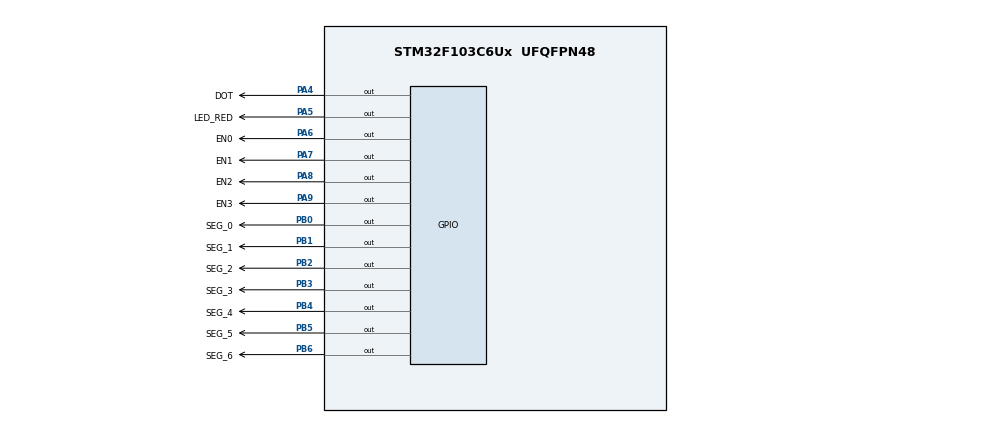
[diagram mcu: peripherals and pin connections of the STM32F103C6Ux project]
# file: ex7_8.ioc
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Mcu.Family=STM32F1
Mcu.Name=STM32F103C6Ux
Mcu.Package=UFQFPN48
NVIC.PriorityGroup=NVIC_PRIORITYGROUP_4
NVIC.TIM2_IRQn=true\:0\:0\:false\:false\:true\:true\:true
PA4.GPIO_Label=DOT
PA4.Signal=GPIO_Output
PA5.GPIO_Label=LED_RED
PA5.Signal=GPIO_Output
PA6.GPIO_Label=EN0
PA6.Signal=GPIO_Output
PA7.GPIO_Label=EN1
PA7.Signal=GPIO_Output
PA8.GPIO_Label=EN2
PA8.Signal=GPIO_Output
PA9.GPIO_Label=EN3
PA9.Signal=GPIO_Output
PB0.GPIO_Label=SEG_0
PB0.Signal=GPIO_Output
PB1.GPIO_Label=SEG_1
PB1.Signal=GPIO_Output
PB2.GPIO_Label=SEG_2
PB2.Signal=GPIO_Output
PB3.GPIO_Label=SEG_3
PB3.Signal=GPIO_Output
PB4.GPIO_Label=SEG_4
PB4.Signal=GPIO_Output
PB5.GPIO_Label=SEG_5
PB5.Signal=GPIO_Output
PB6.GPIO_Label=SEG_6
PB6.Signal=GPIO_Output
ProjectManager.HeapSize=0x200
ProjectManager.StackSize=0x400
ProjectManager.TargetToolchain=STM32CubeIDE
RCC.APB1Freq_Value=8000000
RCC.APB2Freq_Value=8000000
TIM2.Period=9
TIM2.Prescaler=7999
VP_SYS_VS_ND.Mode=No_Debug
VP_TIM2_VS_ClockSourceINT.Mode=Internal
board=custom

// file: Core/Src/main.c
/* USER CODE BEGIN Header */
/**
  ******************************************************************************
  * @file           : main.c
  * @brief          : Main program body
  ******************************************************************************
  * @attention
  *
  * <h2><center>&copy; Copyright (c) 2022 STMicroelectronics.
  * All rights reserved.</center></h2>
  *
  * This software component is licensed by ST under BSD 3-Clause license,
  * the "License"; You may not use this file except in compliance with the
  * License. You may obtain a copy of the License at:
  *                        opensource.org/licenses/BSD-3-Clause
  *
  ******************************************************************************
  */
/* USER CODE END Header */
#include "main.h"

TIM_HandleTypeDef htim2;

void SystemClock_Config(void);
static void MX_GPIO_Init(void);
static void MX_TIM2_Init(void);

/* USER CODE BEGIN 0 */
void display7SEG(int num){
	  if(num == 0){
		  HAL_GPIO_WritePin(SEG_0_GPIO_Port, SEG_0_Pin, RESET);
		  HAL_GPIO_WritePin(SEG_1_GPIO_Port, SEG_1_Pin, RESET);
		  HAL_GPIO_WritePin(SEG_2_GPIO_Port, SEG_2_Pin, RESET);
		  HAL_GPIO_WritePin(SEG_3_GPIO_Port, SEG_3_Pin, RESET);
		  HAL_GPIO_WritePin(SEG_4_GPIO_Port, SEG_4_Pin, RESET);
		  HAL_GPIO_WritePin(SEG_5_GPIO_Port, SEG_5_Pin, RESET);
		  HAL_GPIO_WritePin(SEG_6_GPIO_Port, SEG_6_Pin, SET);
	  }
	  if(num == 1){
		  HAL_GPIO_WritePin(SEG_0_GPIO_Port, SEG_0_Pin, SET);
		  HAL_GPIO_WritePin(SEG_1_GPIO_Port, SEG_1_Pin, RESET);
		  HAL_GPIO_WritePin(SEG_2_GPIO_Port, SEG_2_Pin, RESET);
		  HAL_GPIO_WritePin(SEG_3_GPIO_Port, SEG_3_Pin, SET);
		  HAL_GPIO_WritePin(SEG_4_GPIO_Port, SEG_4_Pin, SET);
		  HAL_GPIO_WritePin(SEG_5_GPIO_Port, SEG_5_Pin, SET);
		  HAL_GPIO_WritePin(SEG_6_GPIO_Port, SEG_6_Pin, SET);
	  }
	  if(num == 2){
		  HAL_GPIO_WritePin(SEG_0_GPIO_Port, SEG_0_Pin, RESET);
		  HAL_GPIO_WritePin(SEG_1_GPIO_Port, SEG_1_Pin, RESET);
		  HAL_GPIO_WritePin(SEG_2_GPIO_Port, SEG_2_Pin, SET);
		  HAL_GPIO_WritePin(SEG_3_GPIO_Port, SEG_3_Pin, RESET);
		  HAL_GPIO_WritePin(SEG_4_GPIO_Port, SEG_4_Pin, RESET);
		  HAL_GPIO_WritePin(SEG_5_GPIO_Port, SEG_5_Pin, SET);
		  HAL_GPIO_WritePin(SEG_6_GPIO_Port, SEG_6_Pin, RESET);
	  }
	  if(num == 3){
		  HAL_GPIO_WritePin(SEG_0_GPIO_Port, SEG_0_Pin, RESET);
		  HAL_GPIO_WritePin(SEG_1_GPIO_Port, SEG_1_Pin, RESET);
		  HAL_GPIO_WritePin(SEG_2_GPIO_Port, SEG_2_Pin, RESET);
		  HAL_GPIO_WritePin(SEG_3_GPIO_Port, SEG_3_Pin, RESET);
		  HAL_GPIO_WritePin(SEG_4_GPIO_Port, SEG_4_Pin, SET);
		  HAL_GPIO_WritePin(SEG_5_GPIO_Port, SEG_5_Pin, SET);
		  HAL_GPIO_WritePin(SEG_6_GPIO_Port, SEG_6_Pin, RESET);
	  }
	  if(num == 4){
		  HAL_GPIO_WritePin(SEG_0_GPIO_Port, SEG_0_Pin, SET);
		  HAL_GPIO_WritePin(SEG_1_GPIO_Port, SEG_1_Pin, RESET);
		  HAL_GPIO_WritePin(SEG_2_GPIO_Port, SEG_2_Pin, RESET);
		  HAL_GPIO_WritePin(SEG_3_GPIO_Port, SEG_3_Pin, SET);
		  HAL_GPIO_WritePin(SEG_4_GPIO_Port, SEG_4_Pin, SET);
		  HAL_GPIO_WritePin(SEG_5_GPIO_Port, SEG_5_Pin, RESET);
		  HAL_GPIO_WritePin(SEG_6_GPIO_Port, SEG_6_Pin, RESET);
	  }
	  if(num == 5){
		  HAL_GPIO_WritePin(SEG_0_GPIO_Port, SEG_0_Pin, RESET);
		  HAL_GPIO_WritePin(SEG_1_GPIO_Port, SEG_1_Pin, SET);
		  HAL_GPIO_WritePin(SEG_2_GPIO_Port, SEG_2_Pin, RESET);
		  HAL_GPIO_WritePin(SEG_3_GPIO_Port, SEG_3_Pin, RESET);
		  HAL_GPIO_WritePin(SEG_4_GPIO_Port, SEG_4_Pin, SET);
		  HAL_GPIO_WritePin(SEG_5_GPIO_Port, SEG_5_Pin, RESET);
		  HAL_GPIO_WritePin(SEG_6_GPIO_Port, SEG_6_Pin, RESET);
	  }
	  if(num == 6){
		  HAL_GPIO_WritePin(SEG_0_GPIO_Port, SEG_0_Pin, RESET);
		  HAL_GPIO_WritePin(SEG_1_GPIO_Port, SEG_1_Pin, SET);
		  HAL_GPIO_WritePin(SEG_2_GPIO_Port, SEG_2_Pin, RESET);
		  HAL_GPIO_WritePin(SEG_3_GPIO_Port, SEG_3_Pin, RESET);
		  HAL_GPIO_WritePin(SEG_4_GPIO_Port, SEG_4_Pin, RESET);
		  HAL_GPIO_WritePin(SEG_5_GPIO_Port, SEG_5_Pin, RESET);
		  HAL_GPIO_WritePin(SEG_6_GPIO_Port, SEG_6_Pin, RESET);
	  }
	  if(num == 7){
		  HAL_GPIO_WritePin(SEG_0_GPIO_Port, SEG_0_Pin, RESET);
		  HAL_GPIO_WritePin(SEG_1_GPIO_Port, SEG_1_Pin, RESET);
		  HAL_GPIO_WritePin(SEG_2_GPIO_Port, SEG_2_Pin, RESET);
		  HAL_GPIO_WritePin(SEG_3_GPIO_Port, SEG_3_Pin, SET);
		  HAL_GPIO_WritePin(SEG_4_GPIO_Port, SEG_4_Pin, SET);
		  HAL_GPIO_WritePin(SEG_5_GPIO_Port, SEG_5_Pin, SET);
		  HAL_GPIO_WritePin(SEG_6_GPIO_Port, SEG_6_Pin, SET);
	  }
	  if(num == 8){
		  HAL_GPIO_WritePin(SEG_0_GPIO_Port, SEG_0_Pin, RESET);
		  HAL_GPIO_WritePin(SEG_1_GPIO_Port, SEG_1_Pin, RESET);
		  HAL_GPIO_WritePin(SEG_2_GPIO_Port, SEG_2_Pin, RESET);
		  HAL_GPIO_WritePin(SEG_3_GPIO_Port, SEG_3_Pin, RESET);
		  HAL_GPIO_WritePin(SEG_4_GPIO_Port, SEG_4_Pin, RESET);
		  HAL_GPIO_WritePin(SEG_5_GPIO_Port, SEG_5_Pin, RESET);
		  HAL_GPIO_WritePin(SEG_6_GPIO_Port, SEG_6_Pin, RESET);
	  }
	  if(num == 9){
		  HAL_GPIO_WritePin(SEG_0_GPIO_Port, SEG_0_Pin, RESET);
		  HAL_GPIO_WritePin(SEG_1_GPIO_Port, SEG_1_Pin, RESET);
		  HAL_GPIO_WritePin(SEG_2_GPIO_Port, SEG_2_Pin, RESET);
		  HAL_GPIO_WritePin(SEG_3_GPIO_Port, SEG_3_Pin, RESET);
		  HAL_GPIO_WritePin(SEG_4_GPIO_Port, SEG_4_Pin, SET);
		  HAL_GPIO_WritePin(SEG_5_GPIO_Port, SEG_5_Pin, RESET);
		  HAL_GPIO_WritePin(SEG_6_GPIO_Port, SEG_6_Pin, RESET);
	  }
}
const int MAX_LED = 4;
int index_led = 0;
int led_buffer [4] = {1 , 2 , 3 , 4};
void update7SEG(int index){
	switch(index){
	case 0:
		HAL_GPIO_WritePin(EN0_GPIO_Port, EN0_Pin, RESET);
		HAL_GPIO_WritePin(EN1_GPIO_Port, EN1_Pin, SET);
		HAL_GPIO_WritePin(EN2_GPIO_Port, EN2_Pin, SET);
		HAL_GPIO_WritePin(EN3_GPIO_Port, EN3_Pin, SET);
		display7SEG(led_buffer[0]);
		break;
	case 1:
		HAL_GPIO_WritePin(EN0_GPIO_Port, EN0_Pin, SET);
		HAL_GPIO_WritePin(EN1_GPIO_Port, EN1_Pin, RESET);
		HAL_GPIO_WritePin(EN2_GPIO_Port, EN2_Pin, SET);
		HAL_GPIO_WritePin(EN3_GPIO_Port, EN3_Pin, SET);
		display7SEG(led_buffer[1]);
		break;
	case 2:
		HAL_GPIO_WritePin(EN0_GPIO_Port, EN0_Pin, SET);
		HAL_GPIO_WritePin(EN1_GPIO_Port, EN1_Pin, SET);
		HAL_GPIO_WritePin(EN2_GPIO_Port, EN2_Pin, RESET);
		HAL_GPIO_WritePin(EN3_GPIO_Port, EN3_Pin, SET);
		display7SEG(led_buffer[2]);
		break;
	case 3:
		HAL_GPIO_WritePin(EN0_GPIO_Port, EN0_Pin, SET);
		HAL_GPIO_WritePin(EN1_GPIO_Port, EN1_Pin, SET);
		HAL_GPIO_WritePin(EN2_GPIO_Port, EN2_Pin, SET);
		HAL_GPIO_WritePin(EN3_GPIO_Port, EN3_Pin, RESET);
		display7SEG(led_buffer[3]);
		break;
	default:
		index = 0;
		break;
	}
}
int hour = 15, minute = 18, second = 50;
void updateClockBuffer(){
	led_buffer[0] = hour / 10;
	led_buffer[1] = hour % 10;
	led_buffer[2] = minute / 10;
	led_buffer[3] = minute % 10;
}

int timer0_counter = 0;
int timer0_flag = 0;
int timer1_counter = 0;
int timer1_flag = 0;

int TIMER_CYCLE = 10;
void setTimer0(int duration){
	timer0_counter = duration / TIMER_CYCLE;
	timer0_flag = 0;
}
void setTimer1(int duration){
	timer1_counter = duration / TIMER_CYCLE;
	timer1_flag = 0;
}
void timerRun(){
	if(timer0_counter > 0){
		timer0_counter--;
		if(timer0_counter == 0){
			timer0_flag = 1;
		}
	}
	if(timer1_counter > 0){
		timer1_counter--;
		if(timer1_counter == 0){
			timer1_flag = 1;
		}
	}
}
/* USER CODE END 0 */

int main(void)
{

  /* MCU Configuration--------------------------------------------------------*/

  /* Reset of all peripherals, Initializes the Flash interface and the Systick. */
  HAL_Init();

  /* Configure the system clock */
  SystemClock_Config();

  /* Initialize all configured peripherals */
  MX_GPIO_Init();
  MX_TIM2_Init();
  /* USER CODE BEGIN 2 */
  HAL_TIM_Base_Start_IT(&htim2);
  /* USER CODE END 2 */

  /* Infinite loop */
  /* USER CODE BEGIN WHILE */

  setTimer0(1000);
  setTimer1(250);
  while (1)
  {
	  if(timer0_flag == 1){
		  second++;
		  if(second >= 60){
			  second = 0;
			  minute++;
		  }
		  if(minute >= 60){
			  minute = 0;
			  hour++;
		  }
		  if(hour >= 24){
			  hour = 0;
		  }
		  updateClockBuffer();
		  HAL_GPIO_TogglePin(DOT_GPIO_Port, DOT_Pin);
		  HAL_GPIO_TogglePin(LED_RED_GPIO_Port, LED_RED_Pin);
		  setTimer0(1000);
	  }
	  if(timer1_flag == 1){
		  index_led++;
		  update7SEG(index_led);
		  setTimer1(250);
	  }

    /* USER CODE END WHILE */

  }
}

void SystemClock_Config(void)
{
  RCC_OscInitTypeDef RCC_OscInitStruct = {0};
  RCC_ClkInitTypeDef RCC_ClkInitStruct = {0};

  /** Initializes the RCC Oscillators according to the specified parameters
  * in the RCC_OscInitTypeDef structure.
  */
  RCC_OscInitStruct.OscillatorType = RCC_OSCILLATORTYPE_HSI;
  RCC_OscInitStruct.HSIState = RCC_HSI_ON;
  RCC_OscInitStruct.HSICalibrationValue = RCC_HSICALIBRATION_DEFAULT;
  RCC_OscInitStruct.PLL.PLLState = RCC_PLL_NONE;
  if (HAL_RCC_OscConfig(&RCC_OscInitStruct) != HAL_OK)
  {
    Error_Handler();
  }
  /** Initializes the CPU, AHB and APB buses clocks
  */
  RCC_ClkInitStruct.ClockType = RCC_CLOCKTYPE_HCLK|RCC_CLOCKTYPE_SYSCLK
                              |RCC_CLOCKTYPE_PCLK1|RCC_CLOCKTYPE_PCLK2;
  RCC_ClkInitStruct.SYSCLKSource = RCC_SYSCLKSOURCE_HSI;
  RCC_ClkInitStruct.AHBCLKDivider = RCC_SYSCLK_DIV1;
  RCC_ClkInitStruct.APB1CLKDivider = RCC_HCLK_DIV1;
  RCC_ClkInitStruct.APB2CLKDivider = RCC_HCLK_DIV1;

  if (HAL_RCC_ClockConfig(&RCC_ClkInitStruct, FLASH_LATENCY_0) != HAL_OK)
  {
    Error_Handler();
  }
}

static void MX_TIM2_Init(void)
{

  TIM_ClockConfigTypeDef sClockSourceConfig = {0};
  TIM_MasterConfigTypeDef sMasterConfig = {0};

  htim2.Instance = TIM2;
  htim2.Init.Prescaler = 7999;
  htim2.Init.CounterMode = TIM_COUNTERMODE_UP;
  htim2.Init.Period = 9;
  htim2.Init.ClockDivision = TIM_CLOCKDIVISION_DIV1;
  htim2.Init.AutoReloadPreload = TIM_AUTORELOAD_PRELOAD_DISABLE;
  if (HAL_TIM_Base_Init(&htim2) != HAL_OK)
  {
    Error_Handler();
  }
  sClockSourceConfig.ClockSource = TIM_CLOCKSOURCE_INTERNAL;
  if (HAL_TIM_ConfigClockSource(&htim2, &sClockSourceConfig) != HAL_OK)
  {
    Error_Handler();
  }
  sMasterConfig.MasterOutputTrigger = TIM_TRGO_RESET;
  sMasterConfig.MasterSlaveMode = TIM_MASTERSLAVEMODE_DISABLE;
  if (HAL_TIMEx_MasterConfigSynchronization(&htim2, &sMasterConfig) != HAL_OK)
  {
    Error_Handler();
  }

}

static void MX_GPIO_Init(void)
{
  GPIO_InitTypeDef GPIO_InitStruct = {0};

  /* GPIO Ports Clock Enable */
  __HAL_RCC_GPIOA_CLK_ENABLE();
  __HAL_RCC_GPIOB_CLK_ENABLE();

  /*Configure GPIO pin Output Level */
  HAL_GPIO_WritePin(GPIOA, DOT_Pin|LED_RED_Pin|EN0_Pin|EN1_Pin
                          |EN2_Pin|EN3_Pin, GPIO_PIN_RESET);

  /*Configure GPIO pin Output Level */
  HAL_GPIO_WritePin(GPIOB, SEG_0_Pin|SEG_1_Pin|SEG_2_Pin|SEG_3_Pin
                          |SEG_4_Pin|SEG_5_Pin|SEG_6_Pin, GPIO_PIN_RESET);

  /*Configure GPIO pins : DOT_Pin LED_RED_Pin EN0_Pin EN1_Pin
                           EN2_Pin EN3_Pin */
  GPIO_InitStruct.Pin = DOT_Pin|LED_RED_Pin|EN0_Pin|EN1_Pin
                          |EN2_Pin|EN3_Pin;
  GPIO_InitStruct.Mode = GPIO_MODE_OUTPUT_PP;
  GPIO_InitStruct.Pull = GPIO_NOPULL;
  GPIO_InitStruct.Speed = GPIO_SPEED_FREQ_LOW;
  HAL_GPIO_Init(GPIOA, &GPIO_InitStruct);

  /*Configure GPIO pins : SEG_0_Pin SEG_1_Pin SEG_2_Pin SEG_3_Pin
                           SEG_4_Pin SEG_5_Pin SEG_6_Pin */
  GPIO_InitStruct.Pin = SEG_0_Pin|SEG_1_Pin|SEG_2_Pin|SEG_3_Pin
                          |SEG_4_Pin|SEG_5_Pin|SEG_6_Pin;
  GPIO_InitStruct.Mode = GPIO_MODE_OUTPUT_PP;
  GPIO_InitStruct.Pull = GPIO_NOPULL;
  GPIO_InitStruct.Speed = GPIO_SPEED_FREQ_LOW;
  HAL_GPIO_Init(GPIOB, &GPIO_InitStruct);

}

/* USER CODE BEGIN 4 */
void HAL_TIM_PeriodElapsedCallback(TIM_HandleTypeDef * htim){
	timerRun();
}
/* USER CODE END 4 */

void Error_Handler(void)
{
  __disable_irq();
  while (1)
  {
  }
}

/************************ (C) COPYRIGHT STMicroelectronics *****END OF FILE****/
